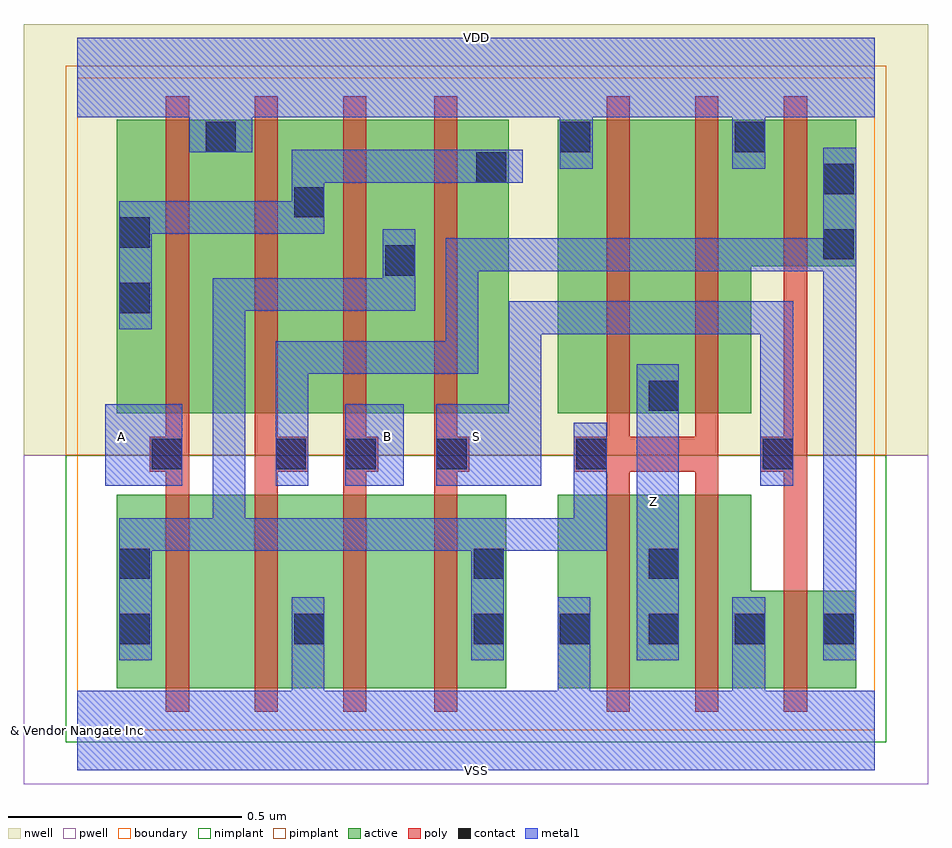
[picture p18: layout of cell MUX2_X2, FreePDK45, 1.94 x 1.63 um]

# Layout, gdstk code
import gdstk
lib = gdstk.Library(unit=1e-6, precision=1e-10)
def R(c, l, rs):  # rectangles x0, y0, x1, y1
    for r in rs: c.add(gdstk.rectangle(r[:2], r[2:], *l))
def P(c, l, *ps):  # polygons
    for p in ps: c.add(gdstk.Polygon(p, *l))
active = (1, 0)
pwell = (2, 0)
nwell = (3, 0)
nimplant = (4, 0)
pimplant = (5, 0)
poly = (9, 0)
contact = (10, 0)
metal1 = (11, 0)
boundary = (235, 0)

mux2_x2 = lib.new_cell('MUX2_X2')
R(mux2_x2, active, [(0.085,0.09,0.92,0.505), (0.085,0.68,0.925,1.31)])
P(mux2_x2, active, [(1.03,0.09),(1.03,0.505),(1.445,0.505),(1.445,0.3),(1.67,0.3),(1.67,0.09)],
  [(1.03,0.68),(1.03,1.31),(1.67,1.31),(1.67,0.995),(1.445,0.995),(1.445,0.68)])
R(mux2_x2, pwell, [(-0.115,-0.115,1.825,0.59)])
R(mux2_x2, nwell, [(-0.115,0.59,1.825,1.515)])
R(mux2_x2, nimplant, [(-0.025,-0.025,1.735,0.59)])
R(mux2_x2, pimplant, [(-0.025,0.59,1.735,1.425)])
P(mux2_x2, poly, [(0.19,0.04),(0.19,0.555),(0.155,0.555),(0.155,0.63),(0.19,0.63),(0.19,1.36),(0.24,1.36),(0.24,0.04)],
  [(0.38,0.04),(0.38,1.36),(0.43,1.36),(0.43,0.63),(0.495,0.63),(0.495,0.555),(0.43,0.555),(0.43,0.04)],
  [(0.57,0.04),(0.57,1.36),(0.62,1.36),(0.62,0.63),(0.645,0.63),(0.645,0.555),(0.62,0.555),(0.62,0.04)],
  [(0.765,0.04),(0.765,1.36),(0.815,1.36),(0.815,0.63),(0.84,0.63),(0.84,0.555),(0.815,0.555),(0.815,0.04)],
  [(1.135,0.04),(1.135,0.555),(1.065,0.555),(1.065,0.63),(1.135,0.63),(1.135,1.36),(1.185,1.36),(1.185,0.63),(1.325,0.63),(1.325,1.36),(1.375,1.36),(1.375,0.04),(1.325,0.04),(1.325,0.555),(1.185,0.555),(1.185,0.04)],
  [(1.515,0.04),(1.515,0.555),(1.465,0.555),(1.465,0.63),(1.515,0.63),(1.515,1.36),(1.565,1.36),(1.565,0.04)])
R(mux2_x2, contact, [(0.09,0.185,0.155,0.25), (0.465,0.185,0.53,0.25), (0.85,0.185,0.915,0.25), (1.035,0.185,1.1,0.25), (1.225,0.185,1.29,0.25), (1.41,0.185,1.475,0.25), (1.6,0.185,1.665,0.25), (0.09,0.325,0.155,0.39), (0.85,0.325,0.915,0.39), (1.225,0.325,1.29,0.39), (0.16,0.56,0.225,0.625), (0.425,0.56,0.49,0.625), (0.575,0.56,0.64,0.625), (0.77,0.56,0.835,0.625), (1.07,0.56,1.135,0.625), (1.47,0.56,1.535,0.625), (1.225,0.685,1.29,0.75), (0.09,0.895,0.155,0.96), (0.66,0.975,0.725,1.04), (1.6,1.01,1.665,1.075), (0.09,1.035,0.155,1.1), (0.465,1.1,0.53,1.165), (1.6,1.15,1.665,1.215), (0.855,1.175,0.92,1.24), (0.275,1.24,0.34,1.305), (1.035,1.24,1.1,1.305), (1.41,1.24,1.475,1.305)])
R(mux2_x2, metal1, [(1.2,0.15,1.29,0.785), (0.06,0.525,0.225,0.7), (0.575,0.525,0.7,0.7)])
P(mux2_x2, metal1, [(0.09,0.86),(0.09,1.135),(0.46,1.135),(0.46,1.245),(0.955,1.245),(0.955,1.175),(0.53,1.175),(0.53,1.065),(0.16,1.065),(0.16,0.86)],
  [(0.09,0.15),(0.09,0.455),(0.29,0.455),(0.29,0.97),(0.655,0.97),(0.655,1.075),(0.725,1.075),(0.725,0.9),(0.36,0.9),(0.36,0.455),(1.065,0.455),(1.065,0.66),(1.135,0.66),(1.135,0.385),(0.915,0.385),(0.915,0.15),(0.845,0.15),(0.845,0.385),(0.16,0.385),(0.16,0.15)],
  [(0.77,0.525),(0.77,0.7),(0.925,0.7),(0.925,0.92),(1.535,0.92),(1.535,0.525),(1.465,0.525),(1.465,0.85),(0.995,0.85),(0.995,0.525)],
  [(1.6,0.15),(1.6,0.985),(0.86,0.985),(0.86,0.765),(0.495,0.765),(0.495,0.525),(0.425,0.525),(0.425,0.835),(0.79,0.835),(0.79,1.055),(1.6,1.055),(1.6,1.25),(1.67,1.25),(1.67,0.15)],
  [(0,-0.085),(0,0.085),(0.46,0.085),(0.46,0.285),(0.53,0.285),(0.53,0.085),(1.03,0.085),(1.03,0.285),(1.1,0.285),(1.1,0.085),(1.405,0.085),(1.405,0.285),(1.475,0.285),(1.475,0.085),(1.71,0.085),(1.71,-0.085)],
  [(1.035,1.205),(1.035,1.315),(0.375,1.315),(0.375,1.24),(0.24,1.24),(0.24,1.315),(0,1.315),(0,1.485),(1.71,1.485),(1.71,1.315),(1.475,1.315),(1.475,1.205),(1.405,1.205),(1.405,1.315),(1.105,1.315),(1.105,1.205)])
R(mux2_x2, boundary, [(0,0,1.71,1.4)])
mux2_x2.add(gdstk.Label('A', (0.095,0.63), layer=11, texttype=0))
mux2_x2.add(gdstk.Label('B', (0.665,0.63), layer=11, texttype=0))
mux2_x2.add(gdstk.Label('S', (0.855,0.63), layer=11, texttype=0))
mux2_x2.add(gdstk.Label('VDD', (0.855,1.485), layer=11, texttype=0))
mux2_x2.add(gdstk.Label('VSS', (0.855,-0.085), layer=11, texttype=0))
mux2_x2.add(gdstk.Label('Z', (1.235,0.49), layer=11, texttype=0))
mux2_x2.add(gdstk.Label('& Vendor Nangate Inc', (0,0), layer=63, texttype=63))
mux2_x2.add(gdstk.Label('& Product Open Cell Library', (0,0), layer=63, texttype=63))
mux2_x2.add(gdstk.Label('& Version 2010_12', (0,0), layer=63, texttype=63))
mux2_x2.add(gdstk.Label('& Instance MUX2_X2', (0,0), layer=63, texttype=63))

lib.write_gds('MUX2_X2.gds')
